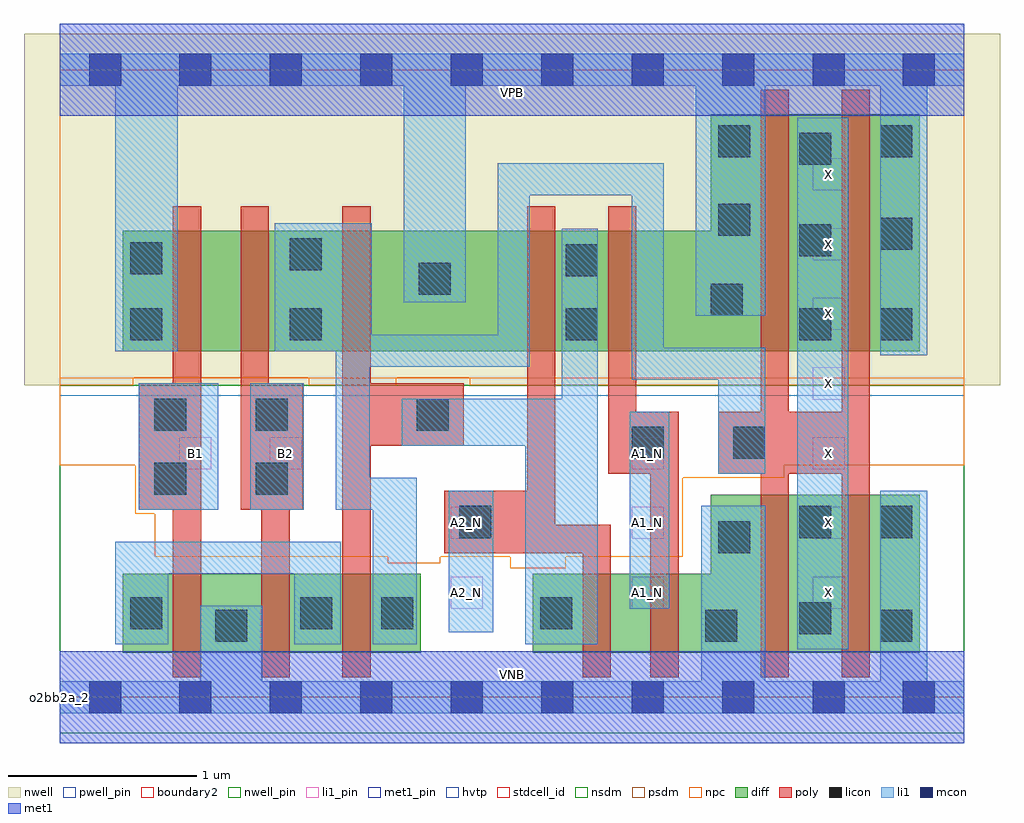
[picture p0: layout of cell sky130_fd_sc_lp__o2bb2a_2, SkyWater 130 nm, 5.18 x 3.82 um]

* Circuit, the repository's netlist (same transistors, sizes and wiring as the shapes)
* Copyright 2020 The SkyWater PDK Authors
*
* Licensed under the Apache License, Version 2.0 (the "License");
* you may not use this file except in compliance with the License.
* You may obtain a copy of the License at
*
*     https://www.apache.org/licenses/LICENSE-2.0
*
* Unless required by applicable law or agreed to in writing, software
* distributed under the License is distributed on an "AS IS" BASIS,
* WITHOUT WARRANTIES OR CONDITIONS OF ANY KIND, either express or implied.
* See the License for the specific language governing permissions and
* limitations under the License.
*
* SPDX-License-Identifier: Apache-2.0

.SUBCKT sky130_fd_sc_lp__o2bb2a_2 A1_N A2_N B1 B2 VGND VNB VPB VPWR X
*.PININFO A1_N:I A2_N:I B1:I B2:I VGND:I VNB:I VPB:I VPWR:I X:O
MMIN2 X y VGND VNB sky130_fd_pr__nfet_01v8 m=2 w=0.84U l=0.15U mult=1 sa=0.265
+ sb=0.265 sd=0.28 area=0.063 perim=1.14
MMNnand0 VGND A1_N sndNA1N VNB sky130_fd_pr__nfet_01v8 m=1 w=0.42U l=0.15U mult=1
+ sa=0.265 sb=0.265 sd=0.28 area=0.063 perim=1.14
MMNnand1 sndNA1N A2_N inand VNB sky130_fd_pr__nfet_01v8 m=1 w=0.42U l=0.15U mult=1
+ sa=0.265 sb=0.265 sd=0.28 area=0.063 perim=1.14
MMNaoi10 nmid B1 VGND VNB sky130_fd_pr__nfet_01v8 m=1 w=0.42U l=0.15U mult=1 sa=0.265
+ sb=0.265 sd=0.28 area=0.063 perim=1.14
MMNaoi11 nmid B2 VGND VNB sky130_fd_pr__nfet_01v8 m=1 w=0.42U l=0.15U mult=1 sa=0.265
+ sb=0.265 sd=0.28 area=0.063 perim=1.14
MMNaoi20 y inand nmid VNB sky130_fd_pr__nfet_01v8 m=1 w=0.42U l=0.15U mult=1 sa=0.265
+ sb=0.265 sd=0.28 area=0.063 perim=1.14
MMIP2 X y VPWR VPB sky130_fd_pr__pfet_01v8_hvt m=2 w=1.26U l=0.15U mult=1 sa=0.265
+ sb=0.265 sd=0.28 area=0.063 perim=1.14
MMPnand0 inand A1_N VPWR VPB sky130_fd_pr__pfet_01v8_hvt m=1 w=0.64U l=0.15U mult=1
+ sa=0.265 sb=0.265 sd=0.28 area=0.063 perim=1.14
MMPnand1 inand A2_N VPWR VPB sky130_fd_pr__pfet_01v8_hvt m=1 w=0.64U l=0.15U mult=1
+ sa=0.265 sb=0.265 sd=0.28 area=0.063 perim=1.14
MMPaoi10 VPWR B1 sndPB1 VPB sky130_fd_pr__pfet_01v8_hvt m=1 w=0.64U l=0.15U mult=1
+ sa=0.265 sb=0.265 sd=0.28 area=0.063 perim=1.14
MMPaoi11 sndPB1 B2 y VPB sky130_fd_pr__pfet_01v8_hvt m=1 w=0.64U l=0.15U mult=1
+ sa=0.265 sb=0.265 sd=0.28 area=0.063 perim=1.14
MMPaoi20 y inand VPWR VPB sky130_fd_pr__pfet_01v8_hvt m=1 w=0.64U l=0.15U mult=1
+ sa=0.265 sb=0.265 sd=0.28 area=0.063 perim=1.14
.ENDS sky130_fd_sc_lp__o2bb2a_2

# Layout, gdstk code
import gdstk
lib = gdstk.Library(unit=1e-6, precision=1e-09)
def R(c, l, rs):  # rectangles x0, y0, x1, y1
    for r in rs: c.add(gdstk.rectangle(r[:2], r[2:], *l))
def A(c, l, x, y, w, h, nx, ny, dx, dy):  # array of equal rectangles
    R(c, l, [(x+i*dx, y+j*dy, x+i*dx+w, y+j*dy+h) for i in range(nx) for j in range(ny)])
def P(c, l, *ps):  # polygons
    for p in ps: c.add(gdstk.Polygon(p, *l))
nwell_pin = (64, 16)
nwell = (64, 20)
diff = (65, 20)
poly = (66, 20)
licon = (66, 44)
li1_pin = (67, 16)
li1 = (67, 20)
mcon = (67, 44)
met1_pin = (68, 16)
met1 = (68, 20)
hvtp = (78, 44)
stdcell_id = (81, 4)
nsdm = (93, 44)
psdm = (94, 20)
npc = (95, 20)
pwell_pin = (122, 16)
boundary2 = (236, 0)

sky130_fd_sc_lp__o2bb2a_ = lib.new_cell('sky130_fd_sc_lp__o2bb2a_2')
R(sky130_fd_sc_lp__o2bb2a_, nwell_pin, [(0,3.085,4.8,3.33)])
R(sky130_fd_sc_lp__o2bb2a_, nwell, [(-0.19,1.655,4.99,3.52)])
R(sky130_fd_sc_lp__o2bb2a_, diff, [(0.335,0.235,1.915,0.655)])
P(sky130_fd_sc_lp__o2bb2a_, diff, [(4.565,3.095),(3.455,3.095),(3.455,2.475),(0.335,2.475),(0.335,1.835),(4.565,1.835)],
  [(4.565,1.075),(3.455,1.075),(3.455,0.655),(2.51,0.655),(2.51,0.235),(4.565,0.235)])
P(sky130_fd_sc_lp__o2bb2a_, poly, [(0.75,2.605),(0.6,2.605),(0.6,1.665),(0.42,1.665),(0.42,0.995),(0.6,0.995),(0.6,0.105),(0.75,0.105)],
  [(1.29,1.665),(1.11,1.665),(1.11,2.605),(0.96,2.605),(0.96,0.995),(1.07,0.995),(1.07,0.105),(1.22,0.105),(1.22,0.995),(1.29,0.995)],
  [(2.145,1.665),(1.65,1.665),(1.65,2.605),(1.5,2.605),(1.5,0.105),(1.65,0.105),(1.65,1.335),(2.145,1.335)],
  [(2.925,0.915),(2.63,0.915),(2.63,2.605),(2.48,2.605),(2.48,1.095),(2.04,1.095),(2.04,0.765),(2.775,0.765),(2.775,0.105),(2.925,0.105)],
  [(3.285,1.515),(3.06,1.515),(3.06,2.605),(2.91,2.605),(2.91,1.185),(3.135,1.185),(3.135,0.105),(3.285,0.105)],
  [(4.3,3.225),(4.15,3.225),(4.15,1.515),(3.87,1.515),(3.87,3.225),(3.72,3.225),(3.72,1.515),(3.495,1.515),(3.495,1.185),(3.72,1.185),(3.72,0.105),(3.87,0.105),(3.87,1.185),(4.15,1.185),(4.15,0.105),(4.3,0.105)])
R(sky130_fd_sc_lp__o2bb2a_, licon, [(0.825,0.295,0.995,0.465), (3.425,0.295,3.595,0.465), (4.355,0.295,4.525,0.465), (3.925,0.335,4.095,0.505), (0.375,0.36,0.545,0.53), (1.275,0.36,1.445,0.53), (1.705,0.36,1.875,0.53), (2.55,0.36,2.72,0.53), (3.495,0.765,3.665,0.935), (2.12,0.845,2.29,1.015), (3.925,0.845,4.095,1.015), (4.355,0.845,4.525,1.015), (0.5,1.075,0.67,1.245), (1.04,1.075,1.21,1.245), (3.035,1.265,3.205,1.435), (3.575,1.265,3.745,1.435), (0.5,1.415,0.67,1.585), (1.04,1.415,1.21,1.585), (1.895,1.415,2.065,1.585), (0.375,1.895,0.545,2.065), (1.22,1.895,1.39,2.065), (2.685,1.895,2.855,2.065), (3.925,1.895,4.095,2.065), (4.355,1.895,4.525,2.065), (3.455,2.025,3.625,2.195), (1.905,2.135,2.075,2.305), (2.685,2.235,2.855,2.405), (0.375,2.245,0.545,2.415), (1.22,2.265,1.39,2.435), (3.925,2.34,4.095,2.51), (4.355,2.375,4.525,2.545), (3.495,2.45,3.665,2.62), (3.925,2.825,4.095,2.995), (3.495,2.865,3.665,3.035), (4.355,2.865,4.525,3.035)])
A(sky130_fd_sc_lp__o2bb2a_, li1_pin, 2.075, 0.47, 0.17, 0.17, 3, 2, 0.96, 0.37)
A(sky130_fd_sc_lp__o2bb2a_, li1_pin, 3.995, 1.21, 0.17, 0.17, 1, 5, 0, 0.37)
R(sky130_fd_sc_lp__o2bb2a_, li1_pin, [(0.635,1.21,0.805,1.38), (1.115,1.21,1.285,1.38), (3.035,1.21,3.205,1.38)])
R(sky130_fd_sc_lp__o2bb2a_, li1, [(3.915,0.255,4.185,3.075), (2.065,0.345,2.3,1.095), (3.025,0.47,3.235,1.515), (0.42,0.995,0.84,1.665), (1.01,0.995,1.295,1.665)])
P(sky130_fd_sc_lp__o2bb2a_, li1, [(0.295,1.835),(0.295,3.245),(0,3.245),(0,3.415),(4.8,3.415),(4.8,3.245),(4.605,3.245),(4.605,1.815),(4.355,1.815),(4.355,3.245),(3.745,3.245),(3.745,2.025),(3.375,2.025),(3.375,3.245),(2.155,3.245),(2.155,2.095),(1.825,2.095),(1.825,3.245),(0.625,3.245),(0.625,1.835)],
  [(0.745,0.085),(0.745,0.485),(1.075,0.485),(1.075,0.085),(3.405,0.085),(3.405,1.015),(3.745,1.015),(3.745,0.085),(4.355,0.085),(4.355,1.095),(4.605,1.095),(4.605,0.085),(4.8,0.085),(4.8,-0.085),(0,-0.085),(0,0.085)],
  [(2.47,0.28),(2.47,1.335),(1.815,1.335),(1.815,1.585),(2.665,1.585),(2.665,2.485),(2.855,2.485),(2.855,0.28)],
  [(3.205,2.835),(3.205,1.855),(3.745,1.855),(3.745,1.185),(3.495,1.185),(3.495,1.685),(3.035,1.685),(3.035,2.665),(2.495,2.665),(2.495,1.755),(1.645,1.755),(1.645,1.165),(1.895,1.165),(1.895,0.28),(1.66,0.28),(1.66,0.995),(1.465,0.995),(1.465,1.835),(1.14,1.835),(1.14,2.515),(1.655,2.515),(1.655,1.925),(2.325,1.925),(2.325,2.835)],
  [(1.245,0.655),(0.575,0.655),(0.575,0.28),(0.295,0.28),(0.295,0.825),(1.49,0.825),(1.49,0.28),(1.245,0.28)])
A(sky130_fd_sc_lp__o2bb2a_, mcon, 0.155, -0.085, 0.17, 0.17, 10, 2, 0.48, 3.33)
R(sky130_fd_sc_lp__o2bb2a_, met1_pin, [(0,0,4.8,0.245), (0,3.085,4.8,3.33)])
R(sky130_fd_sc_lp__o2bb2a_, met1, [(0,-0.245,4.8,0.245), (0,3.085,4.8,3.575)])
R(sky130_fd_sc_lp__o2bb2a_, hvtp, [(0,1.6,4.8,3.33)])
R(sky130_fd_sc_lp__o2bb2a_, stdcell_id, [(0,0,4.8,3.33)])
R(sky130_fd_sc_lp__o2bb2a_, nsdm, [(0,-0.19,4.8,1.655)])
P(sky130_fd_sc_lp__o2bb2a_, psdm, [(4.8,3.52),(0,3.52),(0,1.655),(0.39,1.655),(0.39,1.695),(1.32,1.695),(1.32,1.655),(1.785,1.655),(1.785,1.695),(2.175,1.695),(2.175,1.655),(4.8,1.655)])
P(sky130_fd_sc_lp__o2bb2a_, npc, [(4.8,1.695),(0,1.695),(0,1.23),(0.4,1.23),(0.4,0.975),(0.505,0.975),(0.505,0.745),(1.74,0.745),(1.74,0.71),(2.02,0.71),(2.02,0.745),(2.39,0.745),(2.39,0.685),(2.685,0.685),(2.685,0.745),(3.305,0.745),(3.305,1.165),(3.845,1.165),(3.845,1.23),(4.8,1.23)])
R(sky130_fd_sc_lp__o2bb2a_, pwell_pin, [(0,0,4.8,0.245)])
R(sky130_fd_sc_lp__o2bb2a_, boundary2, [(0,0,4.8,3.33)])
sky130_fd_sc_lp__o2bb2a_.add(gdstk.Label('VNB', (2.4,0.123), layer=64, texttype=59))
sky130_fd_sc_lp__o2bb2a_.add(gdstk.Label('VPB', (2.4,3.208), layer=64, texttype=5))
sky130_fd_sc_lp__o2bb2a_.add(gdstk.Label('o2bb2a_2', (0,0), layer=83, texttype=44))
sky130_fd_sc_lp__o2bb2a_.add(gdstk.Label('VPWR', (2.4,3.208), layer=68, texttype=5))
sky130_fd_sc_lp__o2bb2a_.add(gdstk.Label('VGND', (2.4,0.123), layer=68, texttype=5))
sky130_fd_sc_lp__o2bb2a_.add(gdstk.Label('X', (4.08,0.555), layer=67, texttype=5))
sky130_fd_sc_lp__o2bb2a_.add(gdstk.Label('X', (4.08,0.925), layer=67, texttype=5))
sky130_fd_sc_lp__o2bb2a_.add(gdstk.Label('X', (4.08,1.295), layer=67, texttype=5))
sky130_fd_sc_lp__o2bb2a_.add(gdstk.Label('X', (4.08,1.665), layer=67, texttype=5))
sky130_fd_sc_lp__o2bb2a_.add(gdstk.Label('X', (4.08,2.035), layer=67, texttype=5))
sky130_fd_sc_lp__o2bb2a_.add(gdstk.Label('X', (4.08,2.405), layer=67, texttype=5))
sky130_fd_sc_lp__o2bb2a_.add(gdstk.Label('X', (4.08,2.775), layer=67, texttype=5))
sky130_fd_sc_lp__o2bb2a_.add(gdstk.Label('A1_N', (3.12,0.555), layer=67, texttype=5))
sky130_fd_sc_lp__o2bb2a_.add(gdstk.Label('A1_N', (3.12,0.925), layer=67, texttype=5))
sky130_fd_sc_lp__o2bb2a_.add(gdstk.Label('A1_N', (3.12,1.295), layer=67, texttype=5))
sky130_fd_sc_lp__o2bb2a_.add(gdstk.Label('B1', (0.72,1.295), layer=67, texttype=5))
sky130_fd_sc_lp__o2bb2a_.add(gdstk.Label('B2', (1.2,1.295), layer=67, texttype=5))
sky130_fd_sc_lp__o2bb2a_.add(gdstk.Label('A2_N', (2.16,0.555), layer=67, texttype=5))
sky130_fd_sc_lp__o2bb2a_.add(gdstk.Label('A2_N', (2.16,0.925), layer=67, texttype=5))

lib.write_gds('sky130_fd_sc_lp__o2bb2a_2.gds')
